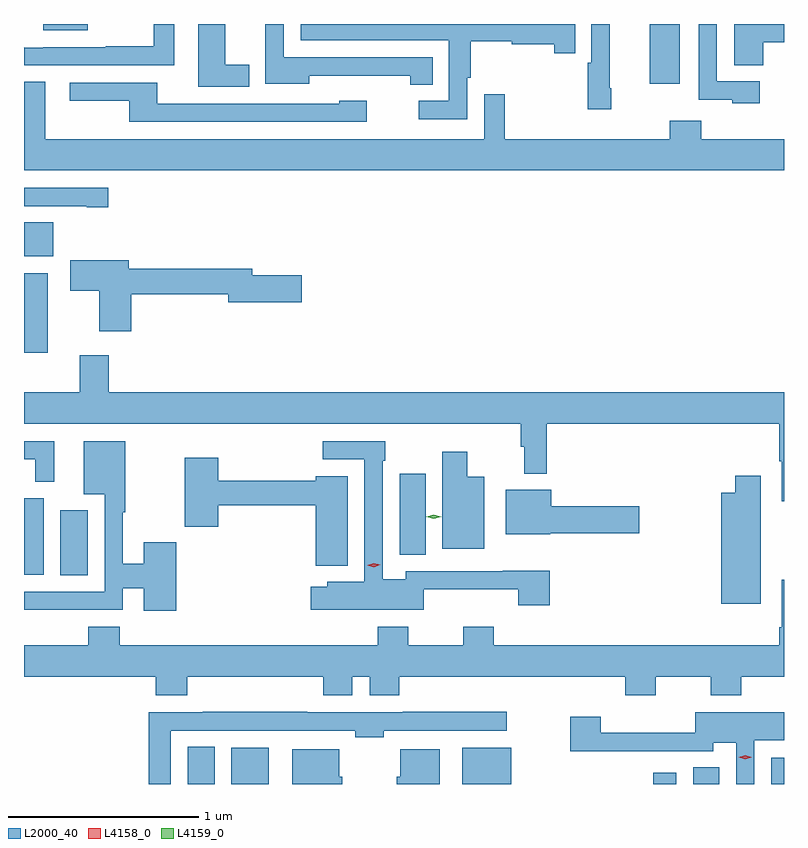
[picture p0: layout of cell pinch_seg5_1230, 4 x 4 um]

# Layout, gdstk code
import gdstk
lib = gdstk.Library(unit=1e-6, precision=1e-09)
def R(c, l, rs):  # rectangles x0, y0, x1, y1
    for r in rs: c.add(gdstk.rectangle(r[:2], r[2:], *l))
def P(c, l, *ps):  # polygons
    for p in ps: c.add(gdstk.Polygon(p, *l))
L2000_40 = (2000, 40)
L4158_0 = (4158, 0)
L4159_0 = (4159, 0)

pinch_seg5_1230 = lib.new_cell('pinch_seg5_1230')
R(pinch_seg5_1230, L2000_40, [(421.763,888.163,421.906,888.359), (421.994,888.163,422.191,888.355), (423.209,888.163,423.466,888.355), (424.214,888.163,424.336,888.223), (424.424,888.163,424.561,888.251), (424.835,888.163,424.902,888.301), (421.094,889.261,421.237,889.603), (420.902,889.265,421.006,889.668), (422.879,889.369,423.016,889.795), (420.902,890.433,421.027,890.851), (420.902,890.94,421.055,891.119), (424.196,891.849,424.354,892.163), (421.004,892.13,421.237,892.163)])
P(pinch_seg5_1230, L2000_40, [(422.087,891.948),(421.96,891.948),(421.96,892.163),(421.82,892.163),(421.82,891.833),(422.087,891.833)],
  [(423.053,891.987),(422.268,891.987),(422.268,892.163),(422.171,892.163),(422.171,892.084),(422.172,892.084),(422.172,891.848),(422.404,891.848),(422.404,891.89),(422.935,891.89),(422.935,891.844),(423.053,891.844)],
  [(423.992,891.826),(423.986,891.826),(423.986,892.163),(423.888,892.163),(423.888,891.958),(423.868,891.958),(423.868,891.714),(423.992,891.714)],
  [(424.774,891.861),(424.548,891.861),(424.548,892.163),(424.452,892.163),(424.452,891.765),(424.629,891.765),(424.629,891.746),(424.774,891.746)],
  [(424.793,892.067),(424.902,892.067),(424.902,892.163),(424.64,892.163),(424.64,891.946),(424.793,891.946)],
  [(423.234,891.88),(423.254,891.88),(423.254,892.072),(423.468,892.072),(423.468,892.057),(423.692,892.057),(423.692,892.008),(423.803,892.008),(423.803,892.163),(422.358,892.163),(422.358,892.077),(423.138,892.077),(423.138,891.759),(422.979,891.759),(422.979,891.663),(423.234,891.663)],
  [(421.692,892.163),(421.584,892.163),(421.584,892.046),(421.333,892.046),(421.333,892.041),(421.003,892.041),(421.003,892.038),(420.904,892.038),(420.902,892.04),(420.902,891.945),(421.692,891.945)],
  [(424.902,891.556),(424.466,891.556),(424.466,891.655),(424.301,891.655),(424.301,891.556),(423.433,891.556),(423.433,891.793),(423.324,891.793),(423.324,891.556),(421.015,891.556),(421.015,891.86),(420.902,891.86),(420.902,891.392),(424.902,891.392)],
  [(422.707,891.76),(422.562,891.76),(422.562,891.744),(421.603,891.744),(421.603,891.855),(421.143,891.855),(421.143,891.758),(421.456,891.758),(421.456,891.648),(422.707,891.648)],
  [(421.345,891.3),(420.902,891.3),(420.902,891.204),(421.232,891.204),(421.232,891.199),(421.345,891.199)],
  [(421.466,890.74),(421.976,890.74),(421.976,890.698),(422.365,890.698),(422.365,890.84),(422.104,890.84),(422.104,890.876),(421.453,890.876),(421.453,890.92),(421.146,890.92),(421.146,890.758),(421.298,890.758),(421.298,890.547),(421.466,890.547)],
  [(424.902,890.224),(421.349,890.224),(421.349,890.419),(421.196,890.419),(421.196,890.224),(420.902,890.224),(420.902,890.06),(423.517,890.06),(423.517,889.937),(423.536,889.937),(423.536,889.797),(423.653,889.797),(423.653,890.06),(424.877,890.06),(424.877,889.863),(424.889,889.863),(424.889,889.65),(424.902,889.65)],
  [(421.06,889.968),(420.902,889.968),(420.902,889.872),(420.962,889.872),(420.962,889.753),(421.06,889.753)],
  [(423.006,889.187),(423.503,889.187),(423.503,889.104),(423.668,889.104),(423.668,889.286),(423.421,889.286),(423.421,889.284),(422.91,889.284),(422.91,889.24),(422.79,889.24),(422.79,889.865),(422.803,889.865),(422.803,889.968),(422.475,889.968),(422.475,889.872),(422.694,889.872),(422.694,889.228),(422.499,889.228),(422.499,889.201),(422.412,889.201),(422.412,889.079),(423.006,889.079)],
  [(421.703,889.435),(421.532,889.435),(421.532,889.322),(421.422,889.322),(421.422,889.592),(421.435,889.592),(421.435,889.966),(421.217,889.966),(421.217,889.688),(421.326,889.688),(421.326,889.176),(420.902,889.176),(420.902,889.079),(421.157,889.079),(421.157,889.08),(421.422,889.08),(421.422,889.194),(421.532,889.194),(421.532,889.074),(421.703,889.074)],
  [(423.325,889.78),(423.234,889.78),(423.234,889.912),(423.104,889.912),(423.104,889.4),(423.325,889.4)],
  [(422.605,889.783),(422.438,889.783),(422.438,889.759),(421.925,889.759),(421.925,889.879),(421.747,889.879),(421.747,889.518),(421.925,889.518),(421.925,889.63),(422.438,889.63),(422.438,889.313),(422.605,889.313)],
  [(424.78,889.786),(424.646,889.786),(424.646,889.696),(424.571,889.696),(424.571,889.112),(424.78,889.112)],
  [(423.672,889.484),(424.141,889.484),(424.141,889.626),(423.676,889.626),(423.676,889.711),(423.437,889.711),(423.437,889.478),(423.672,889.478)],
  [(421.76,888.728),(422.477,888.728),(422.477,888.629),(422.629,888.629),(422.629,888.728),(422.723,888.728),(422.723,888.629),(422.876,888.629),(422.876,888.728),(424.067,888.728),(424.067,888.629),(424.227,888.629),(424.227,888.728),(424.516,888.728),(424.516,888.629),(424.676,888.629),(424.676,888.728),(424.902,888.728),(424.902,889.237),(424.889,889.237),(424.889,888.988),(424.877,888.988),(424.877,888.892),(423.374,888.892),(423.374,888.991),(423.214,888.991),(423.214,888.892),(422.925,888.892),(422.925,888.991),(422.765,888.991),(422.765,888.892),(421.406,888.892),(421.406,888.991),(421.241,888.991),(421.241,888.892),(420.902,888.892),(420.902,888.728),(421.595,888.728),(421.595,888.629),(421.76,888.629)],
  [(421.674,888.444),(422.646,888.444),(422.646,888.409),(422.796,888.409),(422.796,888.444),(423.442,888.444),(423.442,888.542),(422.896,888.542),(422.896,888.54),(422.393,888.54),(422.393,888.542),(421.843,888.542),(421.843,888.54),(421.558,888.54),(421.558,888.163),(421.674,888.163)],
  [(424.746,888.392),(424.902,888.392),(424.902,888.541),(424.434,888.541),(424.434,888.434),(423.938,888.434),(423.938,888.517),(423.778,888.517),(423.778,888.335),(424.021,888.335),(424.021,888.336),(424.53,888.336),(424.53,888.38),(424.65,888.38),(424.65,888.163),(424.746,888.163)],
  [(422.578,888.201),(422.56,888.201),(422.56,888.346),(422.315,888.346),(422.315,888.163),(422.578,888.163)],
  [(423.091,888.346),(422.882,888.346),(422.882,888.201),(422.864,888.201),(422.864,888.163),(423.091,888.163)])
P(pinch_seg5_1230, L4158_0, [(424.698,888.294),(424.663,888.303),(424.663,888.303),(424.663,888.303),(424.697,888.314),(424.732,888.305),(424.732,888.304),(424.732,888.304)],
  [(422.743,889.305),(422.708,889.314),(422.707,889.315),(422.708,889.315),(422.742,889.325),(422.777,889.316),(422.778,889.316),(422.777,889.316)])
P(pinch_seg5_1230, L4159_0, [(423.059,889.56),(423.019,889.569),(423.019,889.569),(423.019,889.569),(423.059,889.58),(423.098,889.57),(423.099,889.57),(423.098,889.57)])

lib.write_gds('pinch_seg5_1230.gds')
